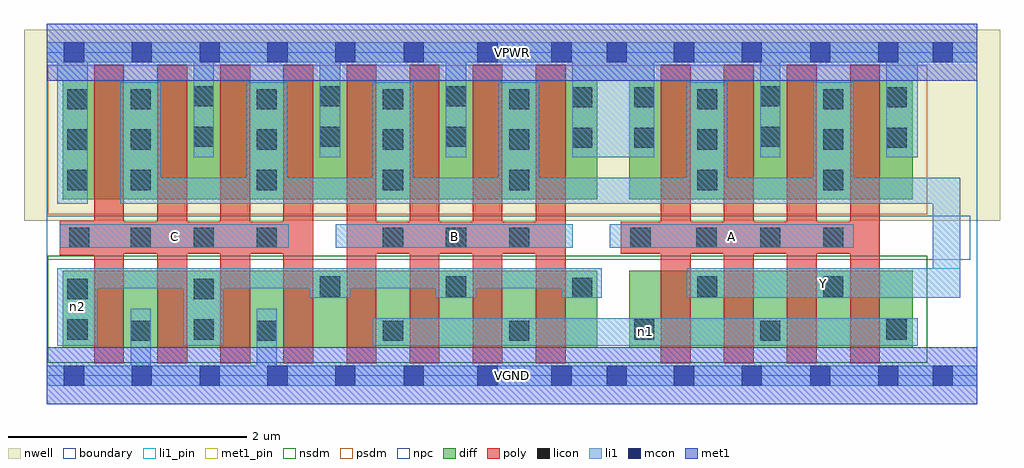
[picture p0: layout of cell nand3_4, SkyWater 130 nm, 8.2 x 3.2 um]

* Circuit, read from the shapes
.subckt nand3_4 A B C VGND VPWR Y n1 n2
XM1 VGND C n2 VSUBS sky130_fd_pr__nfet_01v8 w=0.65 l=0.25 m=4
XM2 n1 B n2 VSUBS sky130_fd_pr__nfet_01v8 w=0.65 l=0.25 m=4
XM3 Y A n1 VSUBS sky130_fd_pr__nfet_01v8 w=0.65 l=0.25 m=4
XM4 Y C VPWR n3 sky130_fd_pr__pfet_01v8 w=1 l=0.25 m=4
XM5 Y B VPWR n3 sky130_fd_pr__pfet_01v8 w=1 l=0.25 m=4
XM6 Y A VPWR n3 sky130_fd_pr__pfet_01v8 w=1 l=0.25 m=4
.ends

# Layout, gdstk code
import gdstk
lib = gdstk.Library(unit=1e-6, precision=1e-09)
def R(c, l, rs):  # rectangles x0, y0, x1, y1
    for r in rs: c.add(gdstk.rectangle(r[:2], r[2:], *l))
def A(c, l, x, y, w, h, nx, ny, dx, dy):  # array of equal rectangles
    R(c, l, [(x+i*dx, y+j*dy, x+i*dx+w, y+j*dy+h) for i in range(nx) for j in range(ny)])
nwell = (64, 20)
diff = (65, 20)
poly = (66, 20)
licon = (66, 44)
li1_pin = (67, 16)
li1 = (67, 20)
mcon = (67, 44)
met1_pin = (68, 16)
met1 = (68, 20)
nsdm = (93, 44)
psdm = (94, 20)
npc = (95, 20)
boundary = (235, 4)

nand3_4 = lib.new_cell('nand3_4')
R(nand3_4, nwell, [(-0.19,1.305,8.01,2.91), (0,1.305,7.82,2.91)])
R(nand3_4, diff, [(0.135,0.235,4.625,0.885), (4.895,0.235,7.275,0.885), (0.135,1.485,4.625,2.485), (4.895,1.485,7.275,2.485)])
A(nand3_4, poly, 0.4, 0.105, 0.25, 2.51, 8, 1, 0.53, 0)
A(nand3_4, poly, 5.16, 0.105, 0.25, 2.51, 4, 1, 0.53, 0)
R(nand3_4, poly, [(0.11,1.015,0.65,1.305), (0.11,1.025,2.24,1.295), (2.52,1.025,4.36,1.295), (4.825,1.025,7,1.295)])
A(nand3_4, licon, 0.705, 0.295, 0.17, 0.17, 4, 2, 1.06, 1.265)
A(nand3_4, licon, 0.705, 1.075, 0.17, 0.17, 3, 1, 0.53, 0)
A(nand3_4, licon, 2.825, 1.075, 0.17, 0.17, 3, 1, 0.53, 0)
A(nand3_4, licon, 0.175, 1.56, 0.17, 0.17, 1, 3, 0, 0.34)
A(nand3_4, licon, 5.465, 1.56, 0.17, 0.17, 1, 3, 0, 0.34)
A(nand3_4, licon, 6.525, 1.56, 0.17, 0.17, 1, 3, 0, 0.34)
A(nand3_4, licon, 0.705, 1.9, 0.17, 0.17, 4, 2, 1.06, 0.34)
A(nand3_4, licon, 1.235, 1.925, 0.17, 0.17, 3, 2, 1.06, 0.34)
R(nand3_4, licon, [(5.995,0.295,6.165,0.465), (0.175,0.305,0.345,0.475), (1.235,0.305,1.405,0.475), (4.935,0.305,5.105,0.475), (7.055,0.305,7.225,0.475), (0.175,0.645,0.345,0.815), (1.235,0.645,1.405,0.815), (4.415,0.655,4.585,0.825), (2.295,0.665,2.465,0.835), (3.355,0.665,3.525,0.835), (5.465,0.665,5.635,0.835), (6.525,0.665,6.695,0.835), (0.19,1.075,0.36,1.245), (4.905,1.075,5.075,1.245), (5.46,1.075,5.63,1.245), (5.995,1.075,6.165,1.245), (6.525,1.075,6.695,1.245), (4.415,1.915,4.585,2.085), (4.935,1.915,5.105,2.085), (7.055,1.915,7.225,2.085), (5.995,1.925,6.165,2.095), (4.415,2.255,4.585,2.425), (4.935,2.255,5.105,2.425), (7.055,2.255,7.225,2.425), (5.995,2.265,6.165,2.435)])
R(nand3_4, li1_pin, [(5.38,0.655,7.675,0.905), (0.11,1.075,2.035,1.275), (2.43,1.075,4.42,1.275), (4.73,1.075,6.78,1.275)])
A(nand3_4, li1, 0.62, 1.445, 0.34, 1.02, 4, 1, 1.06, 0)
A(nand3_4, li1, 1.235, 1.835, 0.17, 0.97, 3, 1, 1.06, 0)
R(nand3_4, li1, [(0,-0.085,7.82,0.085), (0.705,-0.085,0.875,0.565), (1.765,-0.085,1.935,0.565), (0.09,0.255,0.43,0.905), (1.15,0.255,1.49,0.905), (2.74,0.255,7.32,0.485), (2.21,0.655,2.55,0.905), (3.27,0.655,3.61,0.905), (4.33,0.655,4.665,0.905), (5.38,0.655,7.675,0.905), (7.445,0.655,7.675,1.665), (0.09,0.735,4.665,0.905), (0.11,1.075,2.035,1.275), (2.43,1.075,4.42,1.275), (4.73,1.075,6.78,1.275), (0.09,1.445,0.345,2.805), (0.62,1.445,7.675,1.665), (5.38,1.445,5.72,2.465), (6.44,1.445,6.78,2.465), (4.415,1.835,5.105,2.805), (5.995,1.835,6.165,2.805), (7.055,1.835,7.32,2.805), (0,2.635,7.82,2.805)])
A(nand3_4, mcon, 0.145, -0.085, 0.17, 0.17, 5, 2, 0.57, 2.72)
A(nand3_4, mcon, 3, -0.085, 0.17, 0.17, 3, 2, 0.62, 2.72)
R(nand3_4, mcon, [(4.705,-0.085,4.875,0.085), (5.27,-0.085,5.44,0.085), (5.84,-0.085,6.01,0.085), (6.415,-0.085,6.585,0.085), (6.985,-0.085,7.155,0.085), (7.445,-0.085,7.615,0.085), (4.705,2.635,4.875,2.805), (5.27,2.635,5.44,2.805), (5.84,2.635,6.01,2.805), (6.415,2.635,6.585,2.805), (6.985,2.635,7.155,2.805), (7.445,2.635,7.615,2.805)])
R(nand3_4, met1_pin, [(0,-0.24,7.82,0.24), (0,2.48,7.82,2.96)])
R(nand3_4, met1, [(0,-0.24,7.82,0.24), (0,2.48,7.82,2.96)])
R(nand3_4, nsdm, [(0.01,0.11,7.4,1.01)])
R(nand3_4, psdm, [(0.01,1.36,7.4,2.61)])
R(nand3_4, npc, [(0,0.975,7.76,1.345)])
R(nand3_4, boundary, [(0,0,7.82,2.72)])
nand3_4.add(gdstk.Label('A', (5.755,1.175), layer=67, texttype=5))
nand3_4.add(gdstk.Label('B', (3.425,1.175), layer=67, texttype=5))
nand3_4.add(gdstk.Label('C', (1.072,1.175), layer=67, texttype=5))
nand3_4.add(gdstk.Label('Y', (6.527,0.78), layer=67, texttype=5))
nand3_4.add(gdstk.Label('n1', (5.03,0.37), layer=67, texttype=5))
nand3_4.add(gdstk.Label('n2', (0.26,0.58), layer=67, texttype=5))
nand3_4.add(gdstk.Label('VPWR', (3.91,2.72), layer=68, texttype=5))
nand3_4.add(gdstk.Label('VGND', (3.91,0), layer=68, texttype=5))
nand3_4.add(gdstk.Label('A', (5.755,1.175), layer=67, texttype=16))
nand3_4.add(gdstk.Label('B', (3.425,1.175), layer=67, texttype=16))
nand3_4.add(gdstk.Label('C', (1.072,1.175), layer=67, texttype=16))
nand3_4.add(gdstk.Label('Y', (6.527,0.78), layer=67, texttype=16))
nand3_4.add(gdstk.Label('VPWR', (3.91,2.72), layer=68, texttype=16))
nand3_4.add(gdstk.Label('VGND', (3.91,0), layer=68, texttype=16))

lib.write_gds('nand3_4.gds')
